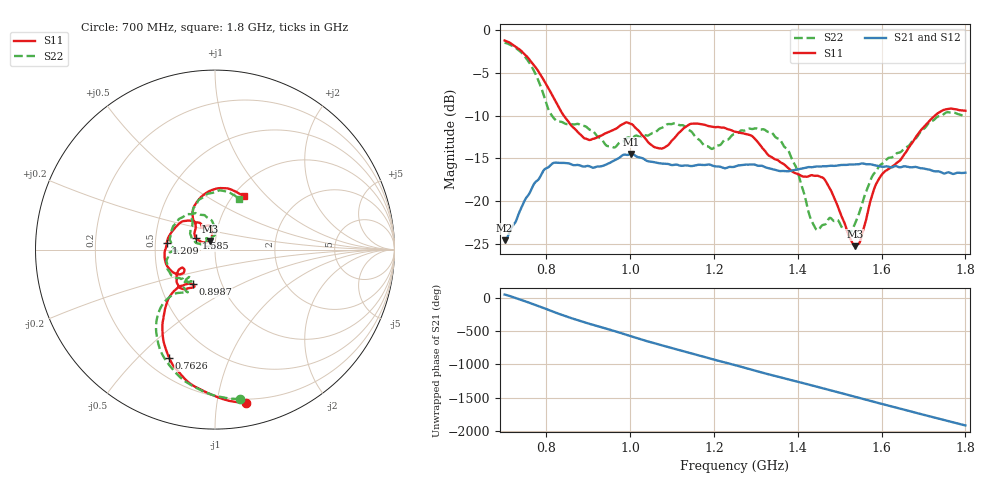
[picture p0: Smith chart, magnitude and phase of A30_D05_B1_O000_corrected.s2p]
! Created with skrf 1.9.0 (http://scikit-rf.org).
# Hz S RI R 50.0
!freq ReS11 ImS11 ReS21 ImS21 ReS12 ImS12 ReS22 ImS22
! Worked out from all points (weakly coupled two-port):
!   1601 points, 700 MHz to 1.8 GHz, reference 50 ohm
!   highest |S21| = -14.47 dB at 1.002 GHz (marker M1); lowest = -24.6 dB at 700 MHz (marker M2)
!   lowest |S11| = -25.2 dB at 1.536 GHz (marker M3), VSWR 1.12, Z = 47.3 + j4.6 ohm
!   |S11| at or under -10 dB: 841.2 MHz to 1.727 GHz (885.9 MHz wide, 69 % of centre)
!   |S22| runs from -23.6 to -1.5 dB; largest |S21 - S12| = 0.0034
!   S11 on the Smith chart (normalised r, x): 700 MHz: 0.17, -1.21; 762.6 MHz: 0.29, -0.62; 898.7 MHz: 0.73, -0.30; 1.209 GHz: 0.57, +0.04; 1.585 GHz: 0.80, +0.10; 1.8 GHz: 1.12, +0.75
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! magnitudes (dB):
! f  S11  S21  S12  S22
! 700 MHz  -1.2  -24.6  -24.3  -1.5
! 762.6 MHz  -3.7  -18.7  -18.7  -4.1
! 816.9 MHz  -7.9  -15.5  -15.6  -10.3
! 883.6 MHz  -12.3  -15.9  -15.8  -11.1
! 898.7 MHz  -12.8  -15.9  -15.9  -11.5
! 948.2 MHz  -11.9  -15.6  -15.6  -13.6
! 1.002 GHz  -11.0  -14.5  -14.6  -12.6
! 1.067 GHz  -13.8  -15.5  -15.5  -11.6
! 1.143 GHz  -11.0  -15.9  -15.9  -11.8
! 1.209 GHz  -11.3  -15.9  -16.0  -13.5
! 1.25 GHz  -11.9  -15.9  -15.9  -12.2
! 1.317 GHz  -13.9  -15.9  -16.0  -11.6
! 1.358 GHz  -15.4  -16.5  -16.4  -12.8
! 1.396 GHz  -16.7  -16.3  -16.3  -16.0
! 1.434 GHz  -16.9  -16.0  -16.0  -22.4
! 1.468 GHz  -17.8  -15.9  -15.9  -22.6
! 1.536 GHz  -25.2  -15.7  -15.7  -22.7
! 1.55 GHz  -24.4  -15.6  -15.6  -20.8
! 1.585 GHz  -18.2  -15.8  -15.8  -16.6
! 1.617 GHz  -16.2  -16.0  -15.9  -14.9
! 1.733 GHz  -9.8  -16.5  -16.5  -10.1
! 1.8 GHz  -9.4  -16.7  -16.7  -10.1
